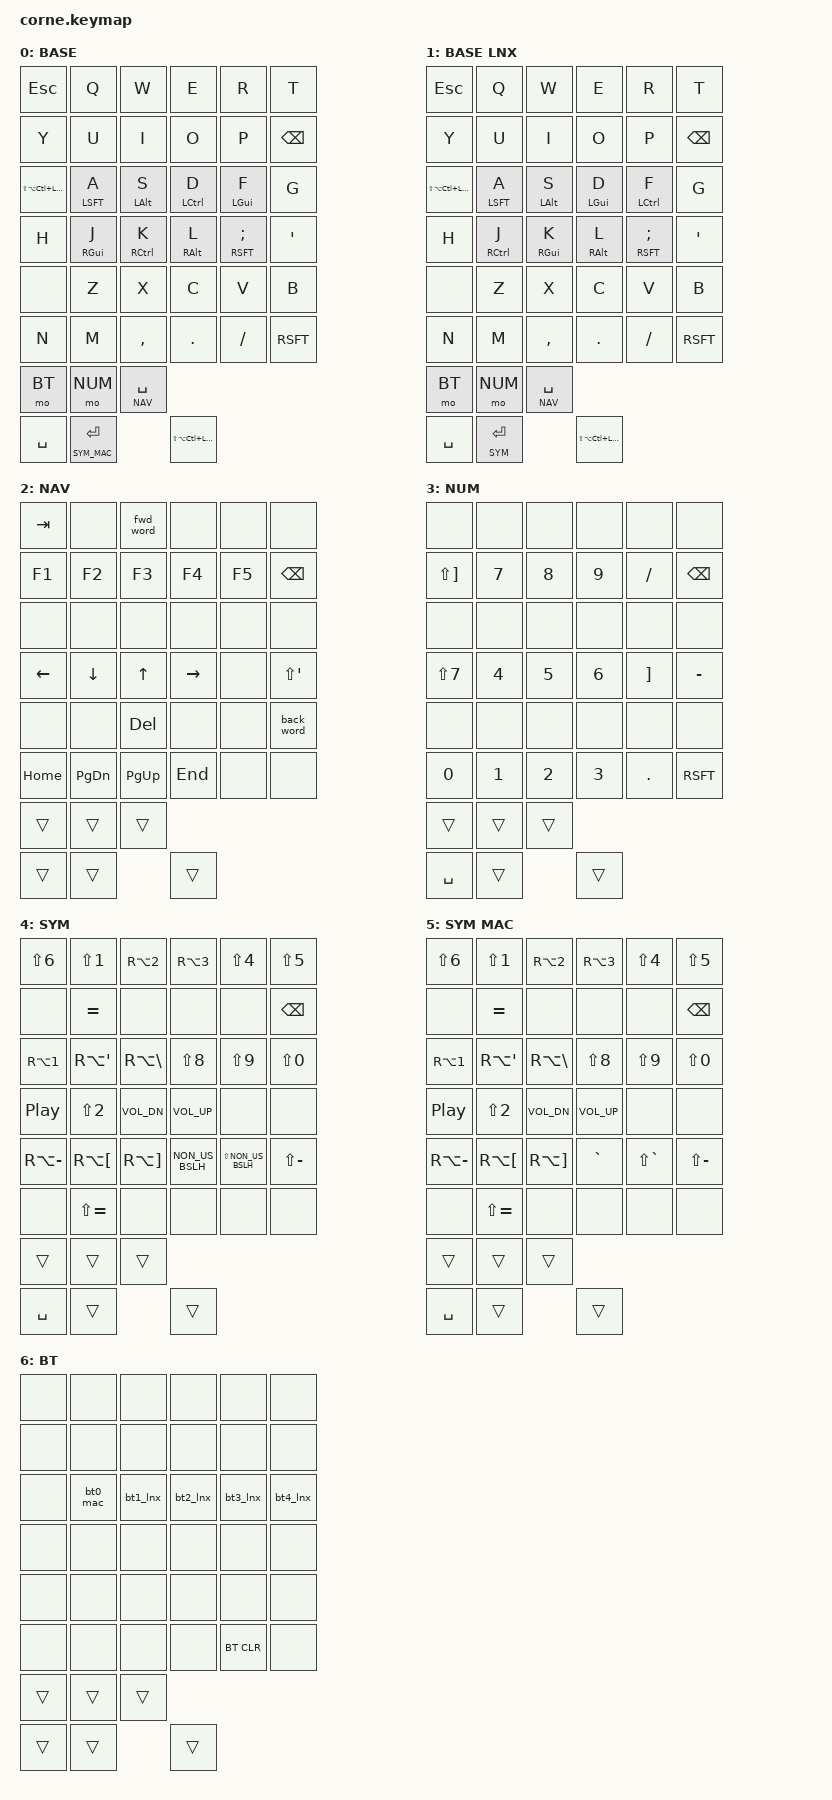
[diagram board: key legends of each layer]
/*
 * Corne ZMK keymap — translated from QMK
 * Hardware: nice!nano v2 + standard Corne PCB
 * Dependencies: zmk-locales module (see west.yml)
 *
 * NOTE on ES_ keycodes in hold-tap bindings:
 * The Zephyr DTS parser runs before the C preprocessor, so ES_ macros
 * (which expand to ZMK_HID_USAGE(...) expressions) cannot be used as
 * arguments to multi-cell behaviors like hold-tap.
 * Solution: use the underlying ZMK base keycode directly.
 *
 * Spanish layout → US HID keycode mapping for affected keys:
 *   Ñ  (ES_NTIL) = SEMI       (;  on US)
 *   ´  (ES_ACUT) = SQT        ('  on US)  — dead acute
 *   ¨  (ES_DIAE) = LS(SQT)    ("  on US)  — dead diaeresis
 *   ,  (ES_COMM) = COMMA       (identical)
 *   .  (ES_DOT)  = DOT         (identical)
 *   -  (ES_MINS) = FSLH        (/  on US)
 *   *  (ES_ASTR) = LS(RBKT)    (}  on US) -- via shift
 *   /  (ES_SLSH) = LS(N7)
 *   +  (ES_PLUS) = RBKT
 *   '  (ES_SQT)  = MINUS
 *   =  (ES_EQUAL)= LS(N0)
 *   &  (ES_AMPR) = LS(N6)
 *   !  (ES_EXLM) = LS(N1)
 *   @  (ES_AT)   = RA(N2)
 *   #  (ES_HASH) = LS(N3)  -- (on ES layout # is RA(N3) actually, but
 *                              keymap_spanish.h maps HASH=LS(N3) for £/·)
 *                              Use RA(N3) for # on Spanish ISO
 *   $  (ES_DLR)  = LS(N4)
 *   %  (ES_PERC) = LS(N5)
 *   |  (ES_PIPE) = RA(N1)  -- (on ES: AltGr+1)
 *   {  (ES_LBRC) = RA(SQT)
 *   }  (ES_RBRC) = RA(BSLH)
 *   (  (ES_LPAR) = LS(N8)
 *   )  (ES_RPAR) = LS(N9)
 *   [  (ES_LBKT) = RA(LBKT)
 *   ]  (ES_RBKT) = RA(RBKT)
 *   <  (ES_LT)   = NON_US_BSLH
 *   >  (ES_GT)   = LS(NON_US_BSLH)
 *   ?  (ES_QMARK)= LS(MINUS)
 *   ¡  (ES_IEXL) = EQUAL
 *   ¿  (ES_IQUE) = LS(EQUAL)
 *   \  (ES_BSLH) = RA(MINUS)
 *   `  (ES_GRV)  = LBKT        — dead grave
 *   0-9: N0-N9 (identical)
 *
 * For &kp bindings the ES_ macros work fine — only hold-tap arguments
 * need the raw codes. This keymap uses raw codes everywhere for consistency.
 */

#include <behaviors.dtsi>
#include <dt-bindings/zmk/keys.h>
#include <dt-bindings/zmk/bt.h>
#include <behaviors/default_layer.dtsi>
#include <dt-bindings/zmk_behavior_default_layer/default_layer.h>

/* ── Layer indices ─────────────────────────────────────────────────────────── */
/* Base layers MUST have lower indices than all overlay layers.               */
/* ZMK resolves keys highest-index-first, so any overlay layer (NAV, NUM,    */
/* SYM…) must have a higher index than the base layer it sits on top of.     */
#define BASE     0
#define BASE_LNX 1
#define NAV      2
#define NUM      3
#define SYM      4
#define SYM_MAC  5
#define BT       6

/* ── Hyper ─────────────────────────────────────────────────────────────────── */
#define HYPER LS(LA(LC(LGUI)))

/* ── Spanish layout raw keycodes ───────────────────────────────────────────── */
/* Simple (unshifted) */
#define ES_N    SEMI          /* Ñ */
#define ES_ACU  SQT           /* ´ dead */
#define ES_DIA  LS(SQT)       /* ¨ dead */
#define ES_MNS  FSLH          /* - */
#define ES_PLU  RBKT          /* + */
#define ES_APO  MINUS         /* ' */
#define ES_GRV  LBKT          /* ` dead */
#define ES_IEX  EQUAL         /* ¡ */
#define ES_IQU  LS(EQUAL)     /* ¿ */
#define ES_LT   NON_US_BSLH   /* < */
#define ES_GT   LS(NON_US_BSLH) /* > */
#define ES_BSL  RA(MINUS)     /* \ */
#define ES_LBR  RA(SQT)       /* { */
#define ES_RBR  RA(BSLH)      /* } */
#define ES_LBK  RA(LBKT)      /* [ */
#define ES_RBK  RA(RBKT)      /* ] */
#define ES_PIP  RA(N1)        /* | */
#define ES_AT   RA(N2)        /* @ */
#define ES_HSH  RA(N3)        /* # */
/* Shifted */
#define ES_EXL  LS(N1)        /* ! */
#define ES_QOT  LS(N2)        /* " */
#define ES_DLR  LS(N4)        /* $ */
#define ES_PER  LS(N5)        /* % */
#define ES_AMP  LS(N6)        /* & */
#define ES_SLS  LS(N7)        /* / */
#define ES_LPR  LS(N8)        /* ( */
#define ES_RPR  LS(N9)        /* ) */
#define ES_EQL  LS(N0)        /* = */
#define ES_AST  LS(RBKT)      /* * */
#define ES_QMK  LS(MINUS)     /* ? */

/ {

    macros {
        back_word: back_word {
            compatible = "zmk,behavior-macro";
            #binding-cells = <0>;
            bindings
                = <&macro_press   &kp LALT>
                , <&macro_tap     &kp LEFT>
                , <&macro_release &kp LALT>
                ;
        };

        fwd_word: fwd_word {
            compatible = "zmk,behavior-macro";
            #binding-cells = <0>;
            bindings
                = <&macro_press   &kp LALT>
                , <&macro_tap     &kp RIGHT>
                , <&macro_release &kp LALT>
                ;
        };

        /* Switch to BT profile 0 (Mac) and activate Mac base layer.
         * &df DF_SEL also persists BASE as profile 0's remembered default,
         * so it's reapplied automatically on every future reconnect/reboot. */
        bt0_mac: bt0_mac {
            compatible = "zmk,behavior-macro";
            #binding-cells = <0>;
            bindings = <&bt BT_SEL 0>, <&to BASE>, <&df DF_SEL BASE>;
        };

        /* Switch to BT profile 1 (Android) and activate Linux base layer */
        bt1_lnx: bt1_lnx {
            compatible = "zmk,behavior-macro";
            #binding-cells = <0>;
            bindings = <&bt BT_SEL 1>, <&to BASE_LNX>, <&df DF_SEL BASE_LNX>;
        };

        /* Switch to BT profile 2 (Android) and activate Linux base layer */
        bt2_lnx: bt2_lnx {
            compatible = "zmk,behavior-macro";
            #binding-cells = <0>;
            bindings = <&bt BT_SEL 2>, <&to BASE_LNX>, <&df DF_SEL BASE_LNX>;
        };

        /* Switch to BT profile 3 (Linux) and activate Linux base layer */
        bt3_lnx: bt3_lnx {
            compatible = "zmk,behavior-macro";
            #binding-cells = <0>;
            bindings = <&bt BT_SEL 3>, <&to BASE_LNX>, <&df DF_SEL BASE_LNX>;
        };

        /* Switch to BT profile 4 (Linux) and activate Linux base layer */
        bt4_lnx: bt4_lnx {
            compatible = "zmk,behavior-macro";
            #binding-cells = <0>;
            bindings = <&bt BT_SEL 4>, <&to BASE_LNX>, <&df DF_SEL BASE_LNX>;
        };
    };

    behaviors {
        /*
         * Shift HRM (A, Ñ): tap-unless-interrupted, 200ms.
         * Hold activates only on timeout OR if another key is pressed but
         * NOT released before tapping-term — so fast shift+letter works as
         * long as you release the letter before the term expires.
         * require-prior-idle-ms prevents false shift during fast typing rolls.
         */
        hm_s: hm_shift {
            compatible = "zmk,behavior-hold-tap";
            #binding-cells = <2>;
            flavor = "balanced";
            tapping-term-ms = <220>;
            quick-tap-ms = <150>;
            require-prior-idle-ms = <80>;
            bindings = <&kp>, <&kp>;
        };

        /*
         * Other HRM (Alt, Ctrl, GUI): longer tapping-term to avoid
         * accidental triggers. require-prior-idle-ms is the key setting
         * for comfortable homerow mods during fast typing.
         */
        hm: hm {
            compatible = "zmk,behavior-hold-tap";
            #binding-cells = <2>;
            flavor = "balanced";
            tapping-term-ms = <280>;
            quick-tap-ms = <150>;
            require-prior-idle-ms = <150>;
            bindings = <&kp>, <&kp>;
        };

        /* LT for NAV / space */
        lt_nav: lt_nav {
            compatible = "zmk,behavior-hold-tap";
            #binding-cells = <2>;
            flavor = "balanced";
            tapping-term-ms = <200>;
            quick-tap-ms = <150>;
            bindings = <&mo>, <&kp>;
        };

        /* LT for SYM / enter */
        lt_sym: lt_sym {
            compatible = "zmk,behavior-hold-tap";
            #binding-cells = <2>;
            flavor = "hold-preferred";
            tapping-term-ms = <200>;
            quick-tap-ms = <0>;
            bindings = <&mo>, <&kp>;
        };
    };

    combos {
        compatible = "zmk,combos";

        combo_caps_word {
            timeout-ms = <50>;
            key-positions = <36 41>;
            bindings = <&caps_word>;
        };
    };

    keymap {
        compatible = "zmk,keymap";

        /* ── 0: BASE ───────────────────────────────────────────────────── */
        base_layer {
            display-name = "BASE";
            bindings = <
                &kp ESC          &kp Q         &kp W        &kp E        &kp R        &kp T
                &kp Y            &kp U         &kp I        &kp O        &kp P        &kp BSPC

                &kp HYPER        &hm_s LSFT A  &hm LALT S   &hm LCTL D   &hm LGUI F   &kp G
                &kp H            &hm RGUI J    &hm RCTL K   &hm RALT L   &hm_s RSFT ES_N   &kp ES_ACU

                &none            &kp Z         &kp X        &kp C        &kp V        &kp B
                &kp N            &kp M         &kp COMMA    &kp DOT      &kp FSLH     &kp RSFT

                &mo BT           &mo NUM       &lt_nav NAV SPC
                &kp SPC          &lt_sym SYM_MAC RET   &kp HYPER
            >;
        };

        /* ── 1: BASE_LNX ──────────────────────────────────────────────── */
        /* Same as BASE but with CTRL↔GUI swapped on home row.            */
        /* So the CMD position on Mac (F/J) sends CTRL on Linux/Android   */
        base_lnx_layer {
            display-name = "BASE LNX";
            bindings = <
                &kp ESC          &kp Q         &kp W        &kp E        &kp R        &kp T
                &kp Y            &kp U         &kp I        &kp O        &kp P        &kp BSPC

                &kp HYPER        &hm_s LSFT A  &hm LALT S   &hm LGUI D   &hm LCTL F   &kp G
                &kp H            &hm RCTL J    &hm RGUI K   &hm RALT L   &hm_s RSFT ES_N   &kp ES_ACU

                &none            &kp Z         &kp X        &kp C        &kp V        &kp B
                &kp N            &kp M         &kp COMMA    &kp DOT      &kp FSLH     &kp RSFT

                &mo BT           &mo NUM       &lt_nav NAV SPC
                &kp SPC          &lt_sym SYM RET   &kp HYPER
            >;
        };

        /* ── 2: NAV ────────────────────────────────────────────────────── */
        nav_layer {
            display-name = "NAV";
            bindings = <
                &kp TAB    &none       &fwd_word   &none       &none      &none
                &kp F1     &kp F2      &kp F3      &kp F4      &kp F5     &kp BSPC

                &none      &none       &none       &none       &none      &none
                &kp LEFT   &kp DOWN    &kp UP      &kp RIGHT   &none      &kp ES_DIA

                &none      &none       &kp DEL     &none       &none      &back_word
                &kp HOME   &kp PG_DN   &kp PG_UP   &kp END     &none      &none

                &trans     &trans      &trans
                &trans     &trans      &trans
            >;
        };

        /* ── 3: NUM ────────────────────────────────────────────────────── */
        num_layer {
            display-name = "NUM";
            bindings = <
                &none       &none    &none    &none    &none    &none
                &kp ES_AST  &kp N7   &kp N8   &kp N9   &kp ES_MNS  &kp BSPC

                &none       &none    &none    &none    &none    &none
                &kp ES_SLS  &kp N4   &kp N5   &kp N6   &kp ES_PLU  &kp ES_APO

                &none       &none    &none    &none    &none    &none
                &kp N0      &kp N1   &kp N2   &kp N3   &kp DOT     &kp RSFT

                &trans      &trans   &trans
                &kp SPC     &trans   &trans
            >;
        };

        /* ── 4: SYM ────────────────────────────────────────────────────── */
        sym_layer {
            display-name = "SYM";
            bindings = <
                &kp ES_AMP  &kp ES_EXL  &kp ES_AT   &kp ES_HSH  &kp ES_DLR  &kp ES_PER
                &none       &kp ES_IEX  &none       &none       &none       &kp BSPC

                &kp ES_PIP  &kp ES_LBR  &kp ES_RBR  &kp ES_LPR  &kp ES_RPR  &kp ES_EQL
                &kp C_PP    &kp ES_QOT  &kp C_VOL_DN   &kp C_VOL_UP   &none  &none

                &kp ES_BSL  &kp ES_LBK  &kp ES_RBK  &kp ES_LT   &kp ES_GT   &kp ES_QMK
                &none       &kp ES_IQU  &none       &none       &none       &none

                &trans      &trans      &trans
                &kp SPC     &trans      &trans
            >;
        };

        /* ── 5: SYM_MAC ─────────────────────────────────────────────────── */
        /* Same as SYM but < > use GRAVE/LS(GRAVE).                       */
        /* On macOS Spanish (ANSI), GRAVE (key left of 1) = < and > .    */
        /* On Linux Spanish ISO, NON_US_BSLH (key left of Z) = < and > . */
        sym_mac_layer {
            display-name = "SYM MAC";
            bindings = <
                &kp ES_AMP  &kp ES_EXL  &kp ES_AT   &kp ES_HSH  &kp ES_DLR  &kp ES_PER
                &none       &kp ES_IEX  &none       &none       &none       &kp BSPC

                &kp ES_PIP  &kp ES_LBR  &kp ES_RBR  &kp ES_LPR  &kp ES_RPR  &kp ES_EQL
                &kp C_PP    &kp ES_QOT  &kp C_VOL_DN   &kp C_VOL_UP   &none  &none

                &kp ES_BSL  &kp ES_LBK  &kp ES_RBK  &kp GRAVE   &kp LS(GRAVE)  &kp ES_QMK
                &none       &kp ES_IQU  &none       &none       &none       &none

                &trans      &trans      &trans
                &kp SPC     &trans      &trans
            >;
        };

        /* ── 6: BT ─────────────────────────────────────────────────────── */
        bt_layer {
            display-name = "BT";
            bindings = <
                &none  &none  &none  &none  &none  &none
                &none  &none  &none  &none  &none  &none

                &none       &bt0_mac   &bt1_lnx   &bt2_lnx   &bt3_lnx   &bt4_lnx
                &none       &none      &none      &none      &none      &none

                &none  &none  &none  &none  &none  &none
                &none  &none  &none  &none  &bt BT_CLR  &none

                &trans  &trans  &trans
                &trans  &trans  &trans
            >;
        };
    };
};
